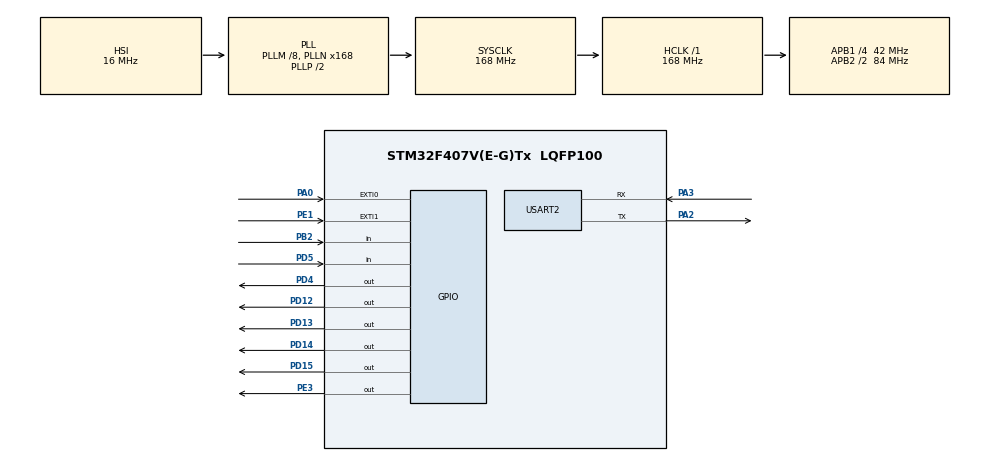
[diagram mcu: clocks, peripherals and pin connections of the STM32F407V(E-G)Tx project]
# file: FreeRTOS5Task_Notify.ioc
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Mcu.Family=STM32F4
Mcu.Name=STM32F407V(E-G)Tx
Mcu.Package=LQFP100
NVIC.PriorityGroup=NVIC_PRIORITYGROUP_4
NVIC.TIM6_DAC_IRQn=true\:15\:0\:false\:false\:true\:false\:true\:true
NVIC.TimeBase=TIM6_DAC_IRQn
NVIC.TimeBaseIP=TIM6
PA0-WKUP.Signal=GPXTI0
PA2.Mode=Asynchronous
PA2.Signal=USART2_TX
PA3.Mode=Asynchronous
PA3.Signal=USART2_RX
PB2.Signal=GPIO_Input
PD12.Signal=GPIO_Output
PD13.Signal=GPIO_Output
PD14.Signal=GPIO_Output
PD15.Signal=GPIO_Output
PD4.Signal=GPIO_Output
PD5.Signal=GPIO_Input
PE1.Signal=GPXTI1
PE3.Signal=GPIO_Output
PH0-OSC_IN.Mode=HSE-External-Oscillator
PH0-OSC_IN.Signal=RCC_OSC_IN
PH1-OSC_OUT.Mode=HSE-External-Oscillator
PH1-OSC_OUT.Signal=RCC_OSC_OUT
ProjectManager.HeapSize=0x200
ProjectManager.StackSize=0x400
ProjectManager.TargetToolchain=STM32CubeIDE
RCC.48MHZClocksFreq_Value=84000000
RCC.AHBFreq_Value=168000000
RCC.APB1CLKDivider=RCC_HCLK_DIV4
RCC.APB1Freq_Value=42000000
RCC.APB1TimFreq_Value=84000000
RCC.APB2CLKDivider=RCC_HCLK_DIV2
RCC.APB2Freq_Value=84000000
RCC.APB2TimFreq_Value=168000000
RCC.CortexFreq_Value=168000000
RCC.HCLKFreq_Value=168000000
RCC.HSE_VALUE=25000000
RCC.HSI_VALUE=16000000
RCC.LSE_VALUE=32768
RCC.PLLM=8
RCC.PLLN=168
RCC.SYSCLKFreq_VALUE=168000000
RCC.SYSCLKSource=RCC_SYSCLKSOURCE_PLLCLK
RCC.VCOOutputFreq_Value=336000000
USART2.VirtualMode=VM_ASYNC
VP_SYS_VS_tim6.Mode=TIM6
board=custom

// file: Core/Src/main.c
/* USER CODE BEGIN Header */
/**
  ******************************************************************************
  * @file           : main.c
  * @brief          : Main program body
  ******************************************************************************
  * @attention
  *
  * Copyright (c) 2023 STMicroelectronics.
  * All rights reserved.
  *
  * This software is licensed under terms that can be found in the LICENSE file
  * in the root directory of this software component.
  * If no LICENSE file comes with this software, it is provided AS-IS.
  *
  ******************************************************************************
  */
/* USER CODE END Header */
#include "main.h"

/* USER CODE BEGIN Includes */
#include <stdio.h>
#include "FreeRTOS.h"
#include "task.h"
/* USER CODE END Includes */

UART_HandleTypeDef huart2;

/* USER CODE BEGIN PV */
#define DWT_CTRL (*(volatile uint32_t*) 0xE0001000)   // for segger sysview config
/* USER CODE END PV */

void SystemClock_Config(void);
static void MX_GPIO_Init(void);
static void MX_USART2_UART_Init(void);
/* USER CODE BEGIN PFP */

static void led_green_handler (void* parameters);
static void led_orange_handler (void* parameters);
static void led_red_handler (void* parameters);
static void led_blue_handler (void* parameters);
static void button_handler (void* parameters);

extern void SEGGER_UART_init(uint32_t);

TaskHandle_t ledg_task_handle;
TaskHandle_t ledr_task_handle;
TaskHandle_t ledo_task_handle;
TaskHandle_t ledb_task_handle;
TaskHandle_t btn_task_handle;

TaskHandle_t volatile next_task_handle = NULL;

/* USER CODE END PFP */

int main(void)
{
  /* USER CODE BEGIN 1 */
	BaseType_t status;
  /* USER CODE END 1 */

  /* MCU Configuration--------------------------------------------------------*/

  /* Reset of all peripherals, Initializes the Flash interface and the Systick. */
  HAL_Init();

  /* Configure the system clock */
  SystemClock_Config();

  /* Initialize all configured peripherals */
  MX_GPIO_Init();
  MX_USART2_UART_Init();
  /* USER CODE BEGIN 2 */

  SEGGER_UART_init(250000);

  //CYCLCNT enable
  DWT_CTRL |= ( 1 << 0);

  SEGGER_SYSVIEW_Conf();
  printf("in main loop");
  status = xTaskCreate(led_green_handler, "LED_green_task", 200, NULL, 4, &ledg_task_handle);

  configASSERT(status == pdPASS);

  next_task_handle = ledg_task_handle;

  status = xTaskCreate(led_red_handler, "LED_red_task", 200,NULL, 3, &ledr_task_handle);

  configASSERT(status == pdPASS);

  status = xTaskCreate(led_orange_handler, "LED_orange_task", 200, NULL, 2, &ledo_task_handle);

  configASSERT(status == pdPASS);

  status = xTaskCreate(led_blue_handler, "LED_blue_task", 200, NULL, 1, &ledb_task_handle);

  configASSERT(status == pdPASS);

  status = xTaskCreate(button_handler, "Button Task", 200, NULL, 5, &btn_task_handle);   // highest priority

  configASSERT(status == pdPASS);

  //start the freeRTOS scheduler
  vTaskStartScheduler();

  /* USER CODE END 2 */

  /* Infinite loop */
  while (1)
  {

  }
}

void SystemClock_Config(void)
{
  RCC_OscInitTypeDef RCC_OscInitStruct = {0};
  RCC_ClkInitTypeDef RCC_ClkInitStruct = {0};

  /** Configure the main internal regulator output voltage
  */
  __HAL_RCC_PWR_CLK_ENABLE();
  __HAL_PWR_VOLTAGESCALING_CONFIG(PWR_REGULATOR_VOLTAGE_SCALE1);

  /** Initializes the RCC Oscillators according to the specified parameters
  * in the RCC_OscInitTypeDef structure.
  */
  RCC_OscInitStruct.OscillatorType = RCC_OSCILLATORTYPE_HSI;
  RCC_OscInitStruct.HSIState = RCC_HSI_ON;
  RCC_OscInitStruct.HSICalibrationValue = RCC_HSICALIBRATION_DEFAULT;
  RCC_OscInitStruct.PLL.PLLState = RCC_PLL_ON;
  RCC_OscInitStruct.PLL.PLLSource = RCC_PLLSOURCE_HSI;
  RCC_OscInitStruct.PLL.PLLM = 8;
  RCC_OscInitStruct.PLL.PLLN = 168;
  RCC_OscInitStruct.PLL.PLLP = RCC_PLLP_DIV2;
  RCC_OscInitStruct.PLL.PLLQ = 4;
  if (HAL_RCC_OscConfig(&RCC_OscInitStruct) != HAL_OK)
  {
    Error_Handler();
  }

  /** Initializes the CPU, AHB and APB buses clocks
  */
  RCC_ClkInitStruct.ClockType = RCC_CLOCKTYPE_HCLK|RCC_CLOCKTYPE_SYSCLK
                              |RCC_CLOCKTYPE_PCLK1|RCC_CLOCKTYPE_PCLK2;
  RCC_ClkInitStruct.SYSCLKSource = RCC_SYSCLKSOURCE_PLLCLK;
  RCC_ClkInitStruct.AHBCLKDivider = RCC_SYSCLK_DIV1;
  RCC_ClkInitStruct.APB1CLKDivider = RCC_HCLK_DIV4;
  RCC_ClkInitStruct.APB2CLKDivider = RCC_HCLK_DIV2;

  if (HAL_RCC_ClockConfig(&RCC_ClkInitStruct, FLASH_LATENCY_5) != HAL_OK)
  {
    Error_Handler();
  }
}

static void MX_USART2_UART_Init(void)
{

  huart2.Instance = USART2;
  huart2.Init.BaudRate = 115200;
  huart2.Init.WordLength = UART_WORDLENGTH_8B;
  huart2.Init.StopBits = UART_STOPBITS_1;
  huart2.Init.Parity = UART_PARITY_NONE;
  huart2.Init.Mode = UART_MODE_TX_RX;
  huart2.Init.HwFlowCtl = UART_HWCONTROL_NONE;
  huart2.Init.OverSampling = UART_OVERSAMPLING_16;
  if (HAL_UART_Init(&huart2) != HAL_OK)
  {
    Error_Handler();
  }

}

static void MX_GPIO_Init(void)
{
  GPIO_InitTypeDef GPIO_InitStruct = {0};

  /* GPIO Ports Clock Enable */
  __HAL_RCC_GPIOE_CLK_ENABLE();
  __HAL_RCC_GPIOH_CLK_ENABLE();
  __HAL_RCC_GPIOA_CLK_ENABLE();
  __HAL_RCC_GPIOB_CLK_ENABLE();
  __HAL_RCC_GPIOD_CLK_ENABLE();

  /*Configure GPIO pin Output Level */
  HAL_GPIO_WritePin(GPIOE, GPIO_PIN_3, GPIO_PIN_RESET);

  /*Configure GPIO pin Output Level */
  HAL_GPIO_WritePin(GPIOD, GPIO_PIN_12|GPIO_PIN_13|GPIO_PIN_14|GPIO_PIN_15
                          |GPIO_PIN_4, GPIO_PIN_RESET);

  /*Configure GPIO pin : PE3 */
  GPIO_InitStruct.Pin = GPIO_PIN_3;
  GPIO_InitStruct.Mode = GPIO_MODE_OUTPUT_PP;
  GPIO_InitStruct.Pull = GPIO_NOPULL;
  GPIO_InitStruct.Speed = GPIO_SPEED_FREQ_LOW;
  HAL_GPIO_Init(GPIOE, &GPIO_InitStruct);

  /*Configure GPIO pin : PA0 */
  GPIO_InitStruct.Pin = GPIO_PIN_0;
  GPIO_InitStruct.Mode = GPIO_MODE_IT_RISING;
  GPIO_InitStruct.Pull = GPIO_NOPULL;
  HAL_GPIO_Init(GPIOA, &GPIO_InitStruct);

  /*Configure GPIO pin : PB2 */
  GPIO_InitStruct.Pin = GPIO_PIN_2;
  GPIO_InitStruct.Mode = GPIO_MODE_INPUT;
  GPIO_InitStruct.Pull = GPIO_NOPULL;
  HAL_GPIO_Init(GPIOB, &GPIO_InitStruct);

  /*Configure GPIO pins : PD12 PD13 PD14 PD15
                           PD4 */
  GPIO_InitStruct.Pin = GPIO_PIN_12|GPIO_PIN_13|GPIO_PIN_14|GPIO_PIN_15
                          |GPIO_PIN_4;
  GPIO_InitStruct.Mode = GPIO_MODE_OUTPUT_PP;
  GPIO_InitStruct.Pull = GPIO_NOPULL;
  GPIO_InitStruct.Speed = GPIO_SPEED_FREQ_LOW;
  HAL_GPIO_Init(GPIOD, &GPIO_InitStruct);

  /*Configure GPIO pin : PD5 */
  GPIO_InitStruct.Pin = GPIO_PIN_5;
  GPIO_InitStruct.Mode = GPIO_MODE_INPUT;
  GPIO_InitStruct.Pull = GPIO_NOPULL;
  HAL_GPIO_Init(GPIOD, &GPIO_InitStruct);

  /*Configure GPIO pin : PE1 */
  GPIO_InitStruct.Pin = GPIO_PIN_1;
  GPIO_InitStruct.Mode = GPIO_MODE_IT_RISING;
  GPIO_InitStruct.Pull = GPIO_NOPULL;
  HAL_GPIO_Init(GPIOE, &GPIO_InitStruct);

}

/* USER CODE BEGIN 4 */
static void led_green_handler(void* parameters)
{
	BaseType_t  status;
	while(1)
	{
		printf("Toggling green LED");
		SEGGER_SYSVIEW_PrintfTarget("Toggling green LED");
		HAL_GPIO_TogglePin(GPIOD, GPIO_PIN_12);
		status = xTaskNotifyWait(0,0,NULL,pdMS_TO_TICKS(1000));
		if(status == pdTRUE){
			vTaskSuspendAll();
			next_task_handle = ledo_task_handle;
			xTaskResumeAll();
			HAL_GPIO_WritePin(GPIOD, GPIO_PIN_12,GPIO_PIN_SET);
			SEGGER_SYSVIEW_PrintfTarget("Delete green LED task");
			vTaskDelete(NULL);
		}
	}
}

static void led_orange_handler(void* parameters)
{
	BaseType_t  status;

	while(1)
	{
		SEGGER_SYSVIEW_PrintfTarget("Toggling orange LED");
		HAL_GPIO_TogglePin(GPIOD, GPIO_PIN_13 );
		status = xTaskNotifyWait(0,0,NULL,pdMS_TO_TICKS(800));
		if(status == pdTRUE){
			vTaskSuspendAll();
			next_task_handle = ledr_task_handle;
			xTaskResumeAll();
			HAL_GPIO_WritePin(GPIOD, GPIO_PIN_13,GPIO_PIN_SET);
			SEGGER_SYSVIEW_PrintfTarget("Delete orange LED task");
			vTaskDelete(NULL);
		}
	}

}

static void led_red_handler(void* parameters)
{
	BaseType_t  status;

	while(1)
	{
		SEGGER_SYSVIEW_PrintfTarget("Toggling red LED");
		HAL_GPIO_TogglePin(GPIOD, GPIO_PIN_14);
		status = xTaskNotifyWait(0,0,NULL,pdMS_TO_TICKS(600));
		if(status == pdTRUE){
			vTaskSuspendAll();
			next_task_handle = ledb_task_handle;
			xTaskResumeAll();
			HAL_GPIO_WritePin(GPIOD, GPIO_PIN_14,GPIO_PIN_SET);
			SEGGER_SYSVIEW_PrintfTarget("Delete red LED task");
			vTaskDelete(NULL);
		}
	}
}

static void led_blue_handler(void* parameters)
{
	BaseType_t  status;

	while(1)
	{
		SEGGER_SYSVIEW_PrintfTarget("Toggling blue LED");
		HAL_GPIO_TogglePin(GPIOD, GPIO_PIN_15);
		status = xTaskNotifyWait(0,0,NULL,pdMS_TO_TICKS(400));
		if(status == pdTRUE){
			vTaskSuspendAll();
			next_task_handle = NULL;
			xTaskResumeAll();
			HAL_GPIO_WritePin(GPIOD, GPIO_PIN_15,GPIO_PIN_SET);
			SEGGER_SYSVIEW_PrintfTarget("Delete blue LED task");
			vTaskDelete(btn_task_handle);
			vTaskDelete(NULL);
		}
	}
}

static void button_handler(void* parameters)
{
	uint8_t btn_read = 0;
	uint8_t prev_read = 0;
	printf("not working");
	while(1){

		btn_read = HAL_GPIO_ReadPin(GPIOA, GPIO_PIN_0);

		if(btn_read)
		{
			if(! prev_read)
				xTaskNotify(next_task_handle,0,eNoAction);
		}
		prev_read = btn_read;
		vTaskDelay(pdMS_TO_TICKS(10));

	}
}

/* USER CODE END 4 */

void HAL_TIM_PeriodElapsedCallback(TIM_HandleTypeDef *htim)
{
  if (htim->Instance == TIM6) {
    HAL_IncTick();
  }
}

void Error_Handler(void)
{
  __disable_irq();
  while (1)
  {
  }
}
